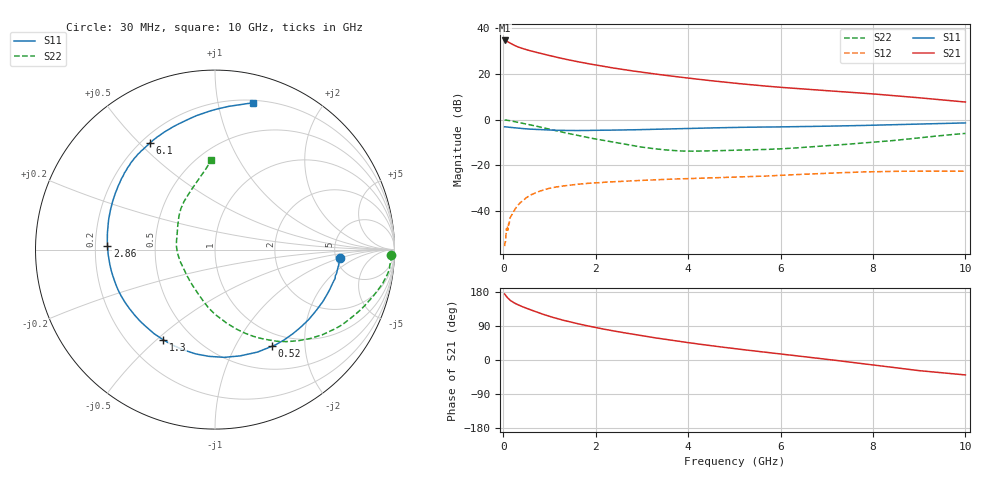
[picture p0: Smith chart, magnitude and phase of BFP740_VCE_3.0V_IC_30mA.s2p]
! Infineon Technologies  Discrete & RF Semiconductors
! BFP740
! VCE =  3.0 V,  IC =  30 mA
! Common Emitter S-Parameters:  Jan 2016
# GHz  S  MA  R  50
!  f  S11  S21  S12  S22
! GHz  MAG  ANG  MAG  ANG  MAG  ANG  MAG  ANG
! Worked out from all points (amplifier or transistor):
!   229 points, 30 MHz to 10 GHz, reference 50 ohm
!   highest |S21| = 34.6 dB at 30 MHz (marker M1)
!   |S21| within 3 dB of that: start of sweep to 341 MHz
!   unconditionally stable (mu >= 1): 5.95 GHz to 9.882 GHz
!   at 280 MHz: K = 0.29, MSG = 35.3 dB, |S12| = -38.4 dB
!   at 1.78 GHz: K = 0.51, MSG = 26.3 dB, |S12| = -28.0 dB
!   at 10 GHz: K = 0.99, MSG = 15.1 dB, |S12| = -22.6 dB
!   S11 on the Smith chart (normalised r, x): 30 MHz: 5.39, -1.02; 520 MHz: 0.80, -1.42; 1.3 GHz: 0.35, -0.52; 2.86 GHz: 0.25, +0.02; 6.1 GHz: 0.23, +0.54; 10 GHz: 0.22, +1.27
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0.03  0.6966 -4.0  53.92 174.1  0.0017 69.5  0.9821 -1.8
0.05  0.6948 -6.9  53.37 170.9  0.0021 87.0  0.9809 -4.0
0.09  0.6862 -12.3  50.97 164.6  0.0047 82.5  0.9717 -7.9
0.13  0.6793 -17.5  48.37 159.6  0.0053 79.4  0.954 -11.2
0.17  0.6716 -22.2  45.85 155.9  0.0078 81.3  0.9342 -14.0
0.22  0.6626 -28.0  43.1 151.9  0.0095 77.7  0.912 -17.3
0.3  0.6511 -36.9  39.59 146.8  0.0128 72.9  0.8791 -22.3
0.4  0.6382 -47.6  36.41 141.4  0.0161 68.9  0.8394 -27.9
0.52  0.625 -59.6  33.46 135.7  0.0202 63.0  0.7941 -34.3
0.7  0.6086 -76.6  29.94 127.4  0.025 56.7  0.7251 -43.1
0.9  0.5958 -93.2  26.7 119.0  0.0295 50.1  0.6505 -52.0
1.1  0.5857 -107.7  23.88 111.5  0.0328 44.7  0.5824 -59.7
1.3  0.5794 -120.1  21.48 104.9  0.0354 40.7  0.5246 -66.6
1.7  0.5777 -140.9  17.78 93.3  0.0392 34.3  0.4309 -78.5
2.2  0.5859 -161.1  14.43 80.9  0.0427 28.8  0.3459 -92.6
2.86  0.5995 177.9  11.4 66.9  0.046 23.8  0.2635 -110.9
3.4  0.6162 163.8  9.623 56.5  0.0487 20.6  0.2232 -129.2
5.1  0.6757 132.6  6.134 28.7  0.0557 13.2  0.2151 175.9
6.1  0.696 121.6  5 14.8  0.061 9.9  0.2322 154.9
6.8  0.7127 113.6  4.438 4.8  0.0655 6.1  0.2581 142.3
8.4  0.7725 92.1  3.385 -19.2  0.0736 -5.5  0.3454 114.7
10  0.8451 75.4  2.423 -39.4  0.0743 -15.7  0.499 92.5
